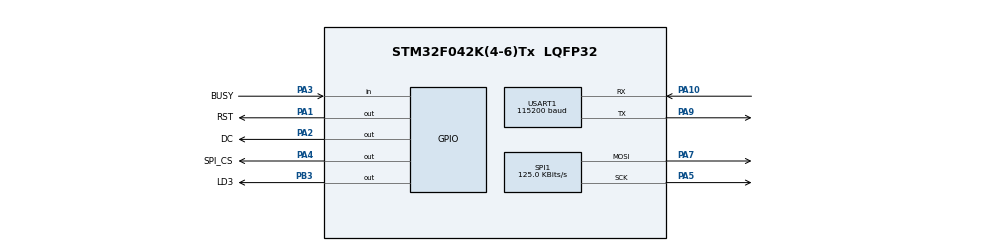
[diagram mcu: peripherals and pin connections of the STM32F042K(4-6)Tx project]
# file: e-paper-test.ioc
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Mcu.Family=STM32F0
Mcu.Name=STM32F042K(4-6)Tx
Mcu.Package=LQFP32
PA1.GPIO_Label=RST
PA1.Signal=GPIO_Output
PA10.Mode=Asynchronous
PA10.Signal=USART1_RX
PA13.Mode=Serial_Wire
PA13.Signal=SYS_SWDIO
PA14.Mode=Serial_Wire
PA14.Signal=SYS_SWCLK
PA2.GPIO_Label=DC
PA2.Signal=GPIO_Output
PA3.GPIO_Label=BUSY
PA3.Signal=GPIO_Input
PA4.GPIO_Label=SPI_CS
PA4.Signal=GPIO_Output
PA5.Mode=TX_Only_Simplex_Unidirect_Master
PA5.Signal=SPI1_SCK
PA7.Mode=TX_Only_Simplex_Unidirect_Master
PA7.Signal=SPI1_MOSI
PA9.Mode=Asynchronous
PA9.Signal=USART1_TX
PB3.GPIO_Label=LD3
PB3.GPIO_Speed=GPIO_SPEED_FREQ_HIGH
PB3.Signal=GPIO_Output
PF0-OSC_IN.Mode=HSE-External-Oscillator
PF0-OSC_IN.Signal=RCC_OSC_IN
PF1-OSC_OUT.Mode=HSE-External-Oscillator
PF1-OSC_OUT.Signal=RCC_OSC_OUT
ProjectManager.HeapSize=0x200
ProjectManager.StackSize=0x400
ProjectManager.TargetToolchain=STM32CubeIDE
SPI1.BaudRatePrescaler=SPI_BAUDRATEPRESCALER_64
SPI1.CalculateBaudRate=125.0 KBits/s
SPI1.Direction=SPI_DIRECTION_2LINES
SPI1.Mode=SPI_MODE_MASTER
SPI1.NSSPMode=SPI_NSS_PULSE_ENABLE
SPI1.VirtualType=VM_MASTER
USART1.BaudRate=115200
USART1.VirtualMode-Asynchronous=VM_ASYNC
board=custom

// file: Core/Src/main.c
/* USER CODE BEGIN Header */
/**
  ******************************************************************************
  * @file           : main.c
  * @brief          : Main program body
  ******************************************************************************
  * @attention
  *
  * Copyright (c) 2023 STMicroelectronics.
  * All rights reserved.
  *
  * This software is licensed under terms that can be found in the LICENSE file
  * in the root directory of this software component.
  * If no LICENSE file comes with this software, it is provided AS-IS.
  *
  ******************************************************************************
  */
/* USER CODE END Header */
#include "main.h"

/* USER CODE BEGIN Includes */
#include <string.h>

#include "EPD_1in54_V2.h"
#include "EPD_Test.h"
#include "Debug.h"
#include "DEV_Config.h"
#include "GUI_PAINT.h"
/* USER CODE END Includes */

SPI_HandleTypeDef hspi1;

UART_HandleTypeDef huart1;

void SystemClock_Config(void);
static void MX_GPIO_Init(void);
static void MX_SPI1_Init(void);
static void MX_USART1_UART_Init(void);

int main(void)
{

  /* MCU Configuration--------------------------------------------------------*/

  /* Reset of all peripherals, Initializes the Flash interface and the Systick. */
  HAL_Init();

  /* Configure the system clock */
  SystemClock_Config();

  /* Initialize all configured peripherals */
  MX_GPIO_Init();
  MX_SPI1_Init();
  MX_USART1_UART_Init();
  /* USER CODE BEGIN 2 */

  printf("EPD_1in54_V2_test Demo\r\n");
  DEV_Module_Init();

  printf("e-Paper Init and Clear...\r\n");
  EPD_1IN54_V2_Init();
  EPD_1IN54_V2_Clear();
  DEV_Delay_ms(500);

  UBYTE *BlackImage;
  BlackImage = (UBYTE*) malloc(EPD_1IN54_V2_HEIGHT * EPD_1IN54_V2_WIDTH / 8);
  if(BlackImage == NULL) {
    // Error handling here
  }

  // Initialize the BlackImage buffer
  //memset(BlackImage, 0xff, EPD_1IN54_V2_HEIGHT * EPD_1IN54_V2_WIDTH / 8);

  printf("Paint_NewImage\r\n");
  Paint_NewImage(BlackImage, EPD_1IN54_V2_WIDTH, EPD_1IN54_V2_HEIGHT, 270, WHITE);
  Paint_SelectImage(BlackImage);
  Paint_Clear(WHITE);

  // 2.Drawing on the image
  Paint_DrawPoint(5, 10, BLACK, DOT_PIXEL_1X1, DOT_STYLE_DFT);
  Paint_DrawPoint(5, 25, BLACK, DOT_PIXEL_2X2, DOT_STYLE_DFT);
  Paint_DrawPoint(5, 40, BLACK, DOT_PIXEL_3X3, DOT_STYLE_DFT);
  Paint_DrawPoint(5, 55, BLACK, DOT_PIXEL_4X4, DOT_STYLE_DFT);

  EPD_1IN54_V2_Display(BlackImage);
  DEV_Delay_ms(2000);
  /* USER CODE END 2 */

  /* Infinite loop */
  while (1)
  {
	  Paint_SelectImage(BlackImage);
	  Paint_Clear(WHITE);

	  // 2.Drawing on the image
	  Paint_DrawPoint(5, 10, BLACK, DOT_PIXEL_1X1, DOT_STYLE_DFT);
	  Paint_DrawPoint(5, 25, BLACK, DOT_PIXEL_2X2, DOT_STYLE_DFT);
	  Paint_DrawPoint(5, 40, BLACK, DOT_PIXEL_3X3, DOT_STYLE_DFT);
	  Paint_DrawPoint(5, 55, BLACK, DOT_PIXEL_4X4, DOT_STYLE_DFT);

	  EPD_1IN54_V2_Display(BlackImage);
	  DEV_Delay_ms(2000);
  }
}

void SystemClock_Config(void)
{
  RCC_OscInitTypeDef RCC_OscInitStruct = {0};
  RCC_ClkInitTypeDef RCC_ClkInitStruct = {0};
  RCC_PeriphCLKInitTypeDef PeriphClkInit = {0};

  /** Initializes the RCC Oscillators according to the specified parameters
  * in the RCC_OscInitTypeDef structure.
  */
  RCC_OscInitStruct.OscillatorType = RCC_OSCILLATORTYPE_HSI;
  RCC_OscInitStruct.HSIState = RCC_HSI_ON;
  RCC_OscInitStruct.HSICalibrationValue = RCC_HSICALIBRATION_DEFAULT;
  RCC_OscInitStruct.PLL.PLLState = RCC_PLL_NONE;
  if (HAL_RCC_OscConfig(&RCC_OscInitStruct) != HAL_OK)
  {
    Error_Handler();
  }

  /** Initializes the CPU, AHB and APB buses clocks
  */
  RCC_ClkInitStruct.ClockType = RCC_CLOCKTYPE_HCLK|RCC_CLOCKTYPE_SYSCLK
                              |RCC_CLOCKTYPE_PCLK1;
  RCC_ClkInitStruct.SYSCLKSource = RCC_SYSCLKSOURCE_HSI;
  RCC_ClkInitStruct.AHBCLKDivider = RCC_SYSCLK_DIV1;
  RCC_ClkInitStruct.APB1CLKDivider = RCC_HCLK_DIV1;

  if (HAL_RCC_ClockConfig(&RCC_ClkInitStruct, FLASH_LATENCY_0) != HAL_OK)
  {
    Error_Handler();
  }
  PeriphClkInit.PeriphClockSelection = RCC_PERIPHCLK_USART1;
  PeriphClkInit.Usart1ClockSelection = RCC_USART1CLKSOURCE_PCLK1;
  if (HAL_RCCEx_PeriphCLKConfig(&PeriphClkInit) != HAL_OK)
  {
    Error_Handler();
  }
}

static void MX_SPI1_Init(void)
{

  /* SPI1 parameter configuration*/
  hspi1.Instance = SPI1;
  hspi1.Init.Mode = SPI_MODE_MASTER;
  hspi1.Init.Direction = SPI_DIRECTION_2LINES;
  hspi1.Init.DataSize = SPI_DATASIZE_4BIT;
  hspi1.Init.CLKPolarity = SPI_POLARITY_LOW;
  hspi1.Init.CLKPhase = SPI_PHASE_1EDGE;
  hspi1.Init.NSS = SPI_NSS_SOFT;
  hspi1.Init.BaudRatePrescaler = SPI_BAUDRATEPRESCALER_64;
  hspi1.Init.FirstBit = SPI_FIRSTBIT_MSB;
  hspi1.Init.TIMode = SPI_TIMODE_DISABLE;
  hspi1.Init.CRCCalculation = SPI_CRCCALCULATION_DISABLE;
  hspi1.Init.CRCPolynomial = 7;
  hspi1.Init.CRCLength = SPI_CRC_LENGTH_DATASIZE;
  hspi1.Init.NSSPMode = SPI_NSS_PULSE_ENABLE;
  if (HAL_SPI_Init(&hspi1) != HAL_OK)
  {
    Error_Handler();
  }

}

static void MX_USART1_UART_Init(void)
{

  huart1.Instance = USART1;
  huart1.Init.BaudRate = 115200;
  huart1.Init.WordLength = UART_WORDLENGTH_8B;
  huart1.Init.StopBits = UART_STOPBITS_1;
  huart1.Init.Parity = UART_PARITY_NONE;
  huart1.Init.Mode = UART_MODE_TX_RX;
  huart1.Init.HwFlowCtl = UART_HWCONTROL_NONE;
  huart1.Init.OverSampling = UART_OVERSAMPLING_16;
  huart1.Init.OneBitSampling = UART_ONE_BIT_SAMPLE_DISABLE;
  huart1.AdvancedInit.AdvFeatureInit = UART_ADVFEATURE_NO_INIT;
  if (HAL_UART_Init(&huart1) != HAL_OK)
  {
    Error_Handler();
  }

}

static void MX_GPIO_Init(void)
{
  GPIO_InitTypeDef GPIO_InitStruct = {0};

  /* GPIO Ports Clock Enable */
  __HAL_RCC_GPIOF_CLK_ENABLE();
  __HAL_RCC_GPIOA_CLK_ENABLE();
  __HAL_RCC_GPIOB_CLK_ENABLE();

  /*Configure GPIO pin Output Level */
  HAL_GPIO_WritePin(GPIOA, RST_Pin|DC_Pin|SPI_CS_Pin, GPIO_PIN_RESET);

  /*Configure GPIO pin Output Level */
  HAL_GPIO_WritePin(LD3_GPIO_Port, LD3_Pin, GPIO_PIN_RESET);

  /*Configure GPIO pins : RST_Pin DC_Pin SPI_CS_Pin */
  GPIO_InitStruct.Pin = RST_Pin|DC_Pin|SPI_CS_Pin;
  GPIO_InitStruct.Mode = GPIO_MODE_OUTPUT_PP;
  GPIO_InitStruct.Pull = GPIO_NOPULL;
  GPIO_InitStruct.Speed = GPIO_SPEED_FREQ_LOW;
  HAL_GPIO_Init(GPIOA, &GPIO_InitStruct);

  /*Configure GPIO pin : BUSY_Pin */
  GPIO_InitStruct.Pin = BUSY_Pin;
  GPIO_InitStruct.Mode = GPIO_MODE_INPUT;
  GPIO_InitStruct.Pull = GPIO_NOPULL;
  HAL_GPIO_Init(BUSY_GPIO_Port, &GPIO_InitStruct);

  /*Configure GPIO pin : LD3_Pin */
  GPIO_InitStruct.Pin = LD3_Pin;
  GPIO_InitStruct.Mode = GPIO_MODE_OUTPUT_PP;
  GPIO_InitStruct.Pull = GPIO_NOPULL;
  GPIO_InitStruct.Speed = GPIO_SPEED_FREQ_HIGH;
  HAL_GPIO_Init(LD3_GPIO_Port, &GPIO_InitStruct);

}

void Error_Handler(void)
{
  __disable_irq();
  while (1)
  {
  }
}
